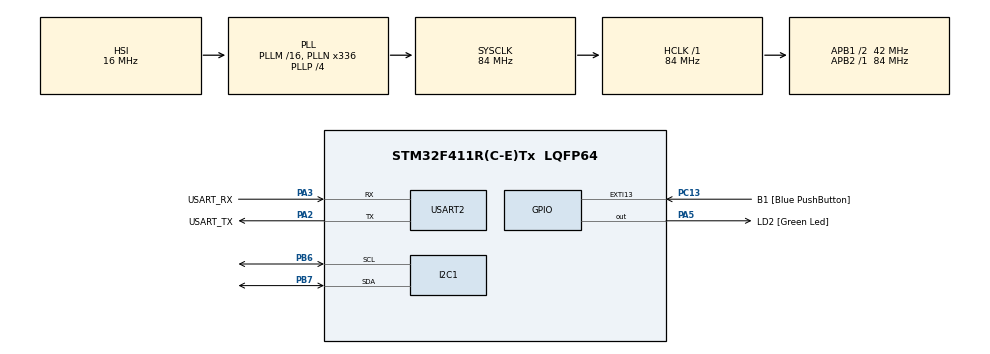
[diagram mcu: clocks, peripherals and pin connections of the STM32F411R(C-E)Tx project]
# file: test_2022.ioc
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I2C1.I2C_Mode=I2C_Fast
Mcu.Family=STM32F4
Mcu.Name=STM32F411R(C-E)Tx
Mcu.Package=LQFP64
NVIC.PriorityGroup=NVIC_PRIORITYGROUP_0
PA13.GPIO_Label=TMS
PA13.Mode=Serial_Wire
PA13.Signal=SYS_JTMS-SWDIO
PA14.GPIO_Label=TCK
PA14.Mode=Serial_Wire
PA14.Signal=SYS_JTCK-SWCLK
PA2.GPIO_Label=USART_TX
PA2.Mode=Asynchronous
PA2.Signal=USART2_TX
PA3.GPIO_Label=USART_RX
PA3.Mode=Asynchronous
PA3.Signal=USART2_RX
PA5.GPIO_Label=LD2 [Green Led]
PA5.Signal=GPIO_Output
PB3.GPIO_Label=SWO
PB3.Signal=SYS_JTDO-SWO
PB6.Mode=I2C
PB6.Signal=I2C1_SCL
PB7.Mode=I2C
PB7.Signal=I2C1_SDA
PC13-ANTI_TAMP.GPIO_Label=B1 [Blue PushButton]
PC13-ANTI_TAMP.GPIO_ModeDefaultEXTI=GPIO_MODE_IT_FALLING
PC13-ANTI_TAMP.Signal=GPXTI13
PC14-OSC32_IN.Mode=LSE-External-Oscillator
PC14-OSC32_IN.Signal=RCC_OSC32_IN
PC15-OSC32_OUT.Mode=LSE-External-Oscillator
PC15-OSC32_OUT.Signal=RCC_OSC32_OUT
PH0\ -\ OSC_IN.Mode=HSE-External-Clock-Source
PH0\ -\ OSC_IN.Signal=RCC_OSC_IN
PH1\ -\ OSC_OUT.Mode=HSE-External-Clock-Source
PH1\ -\ OSC_OUT.Signal=RCC_OSC_OUT
ProjectManager.HeapSize=0x200
ProjectManager.StackSize=0x400
ProjectManager.TargetToolchain=MDK-ARM V5.32
RCC.48MHZClocksFreq_Value=84000000
RCC.AHBFreq_Value=84000000
RCC.APB1CLKDivider=RCC_HCLK_DIV2
RCC.APB1Freq_Value=42000000
RCC.APB1TimFreq_Value=84000000
RCC.APB2Freq_Value=84000000
RCC.APB2TimFreq_Value=84000000
RCC.CortexFreq_Value=84000000
RCC.FLatency-AdvancedSettings=FLASH_LATENCY_2
RCC.HCLKFreq_Value=84000000
RCC.HSE_VALUE=8000000
RCC.HSI_VALUE=16000000
RCC.PLLN=336
RCC.PLLP=RCC_PLLP_DIV4
RCC.SYSCLKFreq_VALUE=84000000
RCC.SYSCLKSource=RCC_SYSCLKSOURCE_PLLCLK
RCC.VCOOutputFreq_Value=336000000
USART2.VirtualMode=VM_ASYNC
board=NUCLEO-F411RE

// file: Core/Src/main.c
/* USER CODE BEGIN Header */
/**
  ******************************************************************************
  * @file           : main.c
  * @brief          : Main program body
  ******************************************************************************
  * @attention
  *
  * Copyright (c) 2022 STMicroelectronics.
  * All rights reserved.
  *
  * This software is licensed under terms that can be found in the LICENSE file
  * in the root directory of this software component.
  * If no LICENSE file comes with this software, it is provided AS-IS.
  *
  ******************************************************************************
  */
/* USER CODE END Header */
#include "main.h"

/* USER CODE BEGIN Includes */
#include "oled.h"
#include <stdio.h>
/* USER CODE END Includes */

I2C_HandleTypeDef hi2c1;

UART_HandleTypeDef huart2;

/* USER CODE BEGIN PV */
char buf[30];
double say=0;
/* USER CODE END PV */

void SystemClock_Config(void);
static void MX_GPIO_Init(void);
static void MX_USART2_UART_Init(void);
static void MX_I2C1_Init(void);

int main(void)
{

  /* MCU Configuration--------------------------------------------------------*/

  /* Reset of all peripherals, Initializes the Flash interface and the Systick. */
  HAL_Init();

  /* Configure the system clock */
  SystemClock_Config();

  /* Initialize all configured peripherals */
  MX_GPIO_Init();
  MX_USART2_UART_Init();
  MX_I2C1_Init();
  /* USER CODE BEGIN 2 */
	SSD1306_Init();
  /* USER CODE END 2 */

  /* Infinite loop */
  /* USER CODE BEGIN WHILE */
  while (1)
  {
		HAL_GPIO_TogglePin(LD2_GPIO_Port, LD2_Pin);
		HAL_Delay(300);

		SSD1306_GotoXY (0,0);
		sprintf(buf,"Acc X=%0.3f",say);
		SSD1306_Puts ("Mustafa", &Font_11x18, 1);
		SSD1306_UpdateScreen();
		HAL_Delay(1000);
		TestFilledCircles(20,1);
		HAL_Delay(1000);
		TestTriangles(1);
		HAL_Delay(1000);
    /* USER CODE END WHILE */

  }
}

void SystemClock_Config(void)
{
  RCC_OscInitTypeDef RCC_OscInitStruct = {0};
  RCC_ClkInitTypeDef RCC_ClkInitStruct = {0};

  /** Configure the main internal regulator output voltage
  */
  __HAL_RCC_PWR_CLK_ENABLE();
  __HAL_PWR_VOLTAGESCALING_CONFIG(PWR_REGULATOR_VOLTAGE_SCALE1);
  /** Initializes the RCC Oscillators according to the specified parameters
  * in the RCC_OscInitTypeDef structure.
  */
  RCC_OscInitStruct.OscillatorType = RCC_OSCILLATORTYPE_HSI;
  RCC_OscInitStruct.HSIState = RCC_HSI_ON;
  RCC_OscInitStruct.HSICalibrationValue = RCC_HSICALIBRATION_DEFAULT;
  RCC_OscInitStruct.PLL.PLLState = RCC_PLL_ON;
  RCC_OscInitStruct.PLL.PLLSource = RCC_PLLSOURCE_HSI;
  RCC_OscInitStruct.PLL.PLLM = 16;
  RCC_OscInitStruct.PLL.PLLN = 336;
  RCC_OscInitStruct.PLL.PLLP = RCC_PLLP_DIV4;
  RCC_OscInitStruct.PLL.PLLQ = 4;
  if (HAL_RCC_OscConfig(&RCC_OscInitStruct) != HAL_OK)
  {
    Error_Handler();
  }
  /** Initializes the CPU, AHB and APB buses clocks
  */
  RCC_ClkInitStruct.ClockType = RCC_CLOCKTYPE_HCLK|RCC_CLOCKTYPE_SYSCLK
                              |RCC_CLOCKTYPE_PCLK1|RCC_CLOCKTYPE_PCLK2;
  RCC_ClkInitStruct.SYSCLKSource = RCC_SYSCLKSOURCE_PLLCLK;
  RCC_ClkInitStruct.AHBCLKDivider = RCC_SYSCLK_DIV1;
  RCC_ClkInitStruct.APB1CLKDivider = RCC_HCLK_DIV2;
  RCC_ClkInitStruct.APB2CLKDivider = RCC_HCLK_DIV1;

  if (HAL_RCC_ClockConfig(&RCC_ClkInitStruct, FLASH_LATENCY_2) != HAL_OK)
  {
    Error_Handler();
  }
}

static void MX_I2C1_Init(void)
{

  hi2c1.Instance = I2C1;
  hi2c1.Init.ClockSpeed = 400000;
  hi2c1.Init.DutyCycle = I2C_DUTYCYCLE_2;
  hi2c1.Init.OwnAddress1 = 0;
  hi2c1.Init.AddressingMode = I2C_ADDRESSINGMODE_7BIT;
  hi2c1.Init.DualAddressMode = I2C_DUALADDRESS_DISABLE;
  hi2c1.Init.OwnAddress2 = 0;
  hi2c1.Init.GeneralCallMode = I2C_GENERALCALL_DISABLE;
  hi2c1.Init.NoStretchMode = I2C_NOSTRETCH_DISABLE;
  if (HAL_I2C_Init(&hi2c1) != HAL_OK)
  {
    Error_Handler();
  }

}

static void MX_USART2_UART_Init(void)
{

  huart2.Instance = USART2;
  huart2.Init.BaudRate = 115200;
  huart2.Init.WordLength = UART_WORDLENGTH_8B;
  huart2.Init.StopBits = UART_STOPBITS_1;
  huart2.Init.Parity = UART_PARITY_NONE;
  huart2.Init.Mode = UART_MODE_TX_RX;
  huart2.Init.HwFlowCtl = UART_HWCONTROL_NONE;
  huart2.Init.OverSampling = UART_OVERSAMPLING_16;
  if (HAL_UART_Init(&huart2) != HAL_OK)
  {
    Error_Handler();
  }

}

static void MX_GPIO_Init(void)
{
  GPIO_InitTypeDef GPIO_InitStruct = {0};

  /* GPIO Ports Clock Enable */
  __HAL_RCC_GPIOC_CLK_ENABLE();
  __HAL_RCC_GPIOH_CLK_ENABLE();
  __HAL_RCC_GPIOA_CLK_ENABLE();
  __HAL_RCC_GPIOB_CLK_ENABLE();

  /*Configure GPIO pin Output Level */
  HAL_GPIO_WritePin(LD2_GPIO_Port, LD2_Pin, GPIO_PIN_RESET);

  /*Configure GPIO pin : B1_Pin */
  GPIO_InitStruct.Pin = B1_Pin;
  GPIO_InitStruct.Mode = GPIO_MODE_IT_FALLING;
  GPIO_InitStruct.Pull = GPIO_NOPULL;
  HAL_GPIO_Init(B1_GPIO_Port, &GPIO_InitStruct);

  /*Configure GPIO pin : LD2_Pin */
  GPIO_InitStruct.Pin = LD2_Pin;
  GPIO_InitStruct.Mode = GPIO_MODE_OUTPUT_PP;
  GPIO_InitStruct.Pull = GPIO_NOPULL;
  GPIO_InitStruct.Speed = GPIO_SPEED_FREQ_LOW;
  HAL_GPIO_Init(LD2_GPIO_Port, &GPIO_InitStruct);

}

void Error_Handler(void)
{
  __disable_irq();
  while (1)
  {
  }
}
